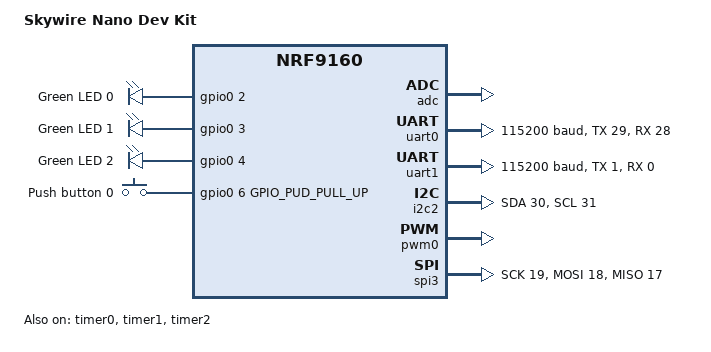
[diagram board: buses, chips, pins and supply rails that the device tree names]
/**
 * © NimbeLink Corp. 2020
 *
 * All rights reserved except as explicitly granted in the license agreement
 * between NimbeLink Corp. and the designated licensee.  No other use or
 * disclosure of this software is permitted. Portions of this software may be
 * subject to third party license terms as specified in this software, and such
 * portions are excluded from the preceding copyright notice of NimbeLink Corp.
 */

// Because the base nRF9160 Devicetree files separate Secure/Non-Secure by
// completely different files, we will expect the thing including us to include
// the proper upstream nrf9160_sica.dtsi/nrf9160ns_sica.dtsi file.

/ {
    model = "Skywire Nano Dev Kit";
    compatible =
        "nordic,pca10090-dk",
        "nordic,nrf9160-sica",
        "nordic,nrf9160",
        "nimbelink,skywire-nano";

    leds {
        compatible = "gpio-leds";
        led0: led_0 {
            gpios = <&gpio0 2 GPIO_INT_ACTIVE_HIGH>;
            label = "Green LED 0";
        };
        led1: led_1 {
            gpios = <&gpio0 3 GPIO_INT_ACTIVE_HIGH>;
            label = "Green LED 1";
        };
        led2: led_2 {
            gpios = <&gpio0 4 GPIO_INT_ACTIVE_HIGH>;
            label = "Green LED 2";
        };
    };

    buttons {
        compatible = "gpio-keys";
        button0: button_0 {
            gpios = <&gpio0 6 GPIO_PUD_PULL_UP>;
            label = "Push button 0";
        };
    };

    aliases {
        led0 = &led0;
        led1 = &led1;
        led2 = &led2;
        sw0 = &button0;
    };
};

&adc {
    status = "okay";
};

&gpiote {
    status = "okay";
};

&gpio0 {
    status = "okay";
};

&uart0 {
    status = "okay";
    current-speed = <115200>;
    tx-pin = <29>;
    rx-pin = <28>;
    rts-pin = <27>;
    cts-pin = <26>;
};

&uart1 {
    status = "okay";
    current-speed = <115200>;
    tx-pin = <1>;
    rx-pin = <0>;
    rts-pin = <14>;
    cts-pin = <15>;
};

&i2c2 {
    compatible = "nordic,nrf-twim";
    status = "okay";
    sda-pin = <30>;
    scl-pin = <31>;
};

&pwm0 {
    status = "okay";
    ch0-pin = <2>;
    ch1-pin = <3>;
    ch2-pin = <4>;
};

&spi3 {
    compatible = "nordic,nrf-spim";
    status = "okay";
    sck-pin = <19>;
    mosi-pin = <18>;
    miso-pin = <17>;
};

&timer0 {
    status = "okay";
};

&timer1 {
    status = "okay";
};

&timer2 {
    status = "okay";
};

&flash0 {
    partitions {
        compatible = "fixed-partitions";
        #address-cells = <1>;
        #size-cells = <1>;
    };
};

&sram0 {
    reg = <0x20000000 DT_SIZE_K(64)>;
};
